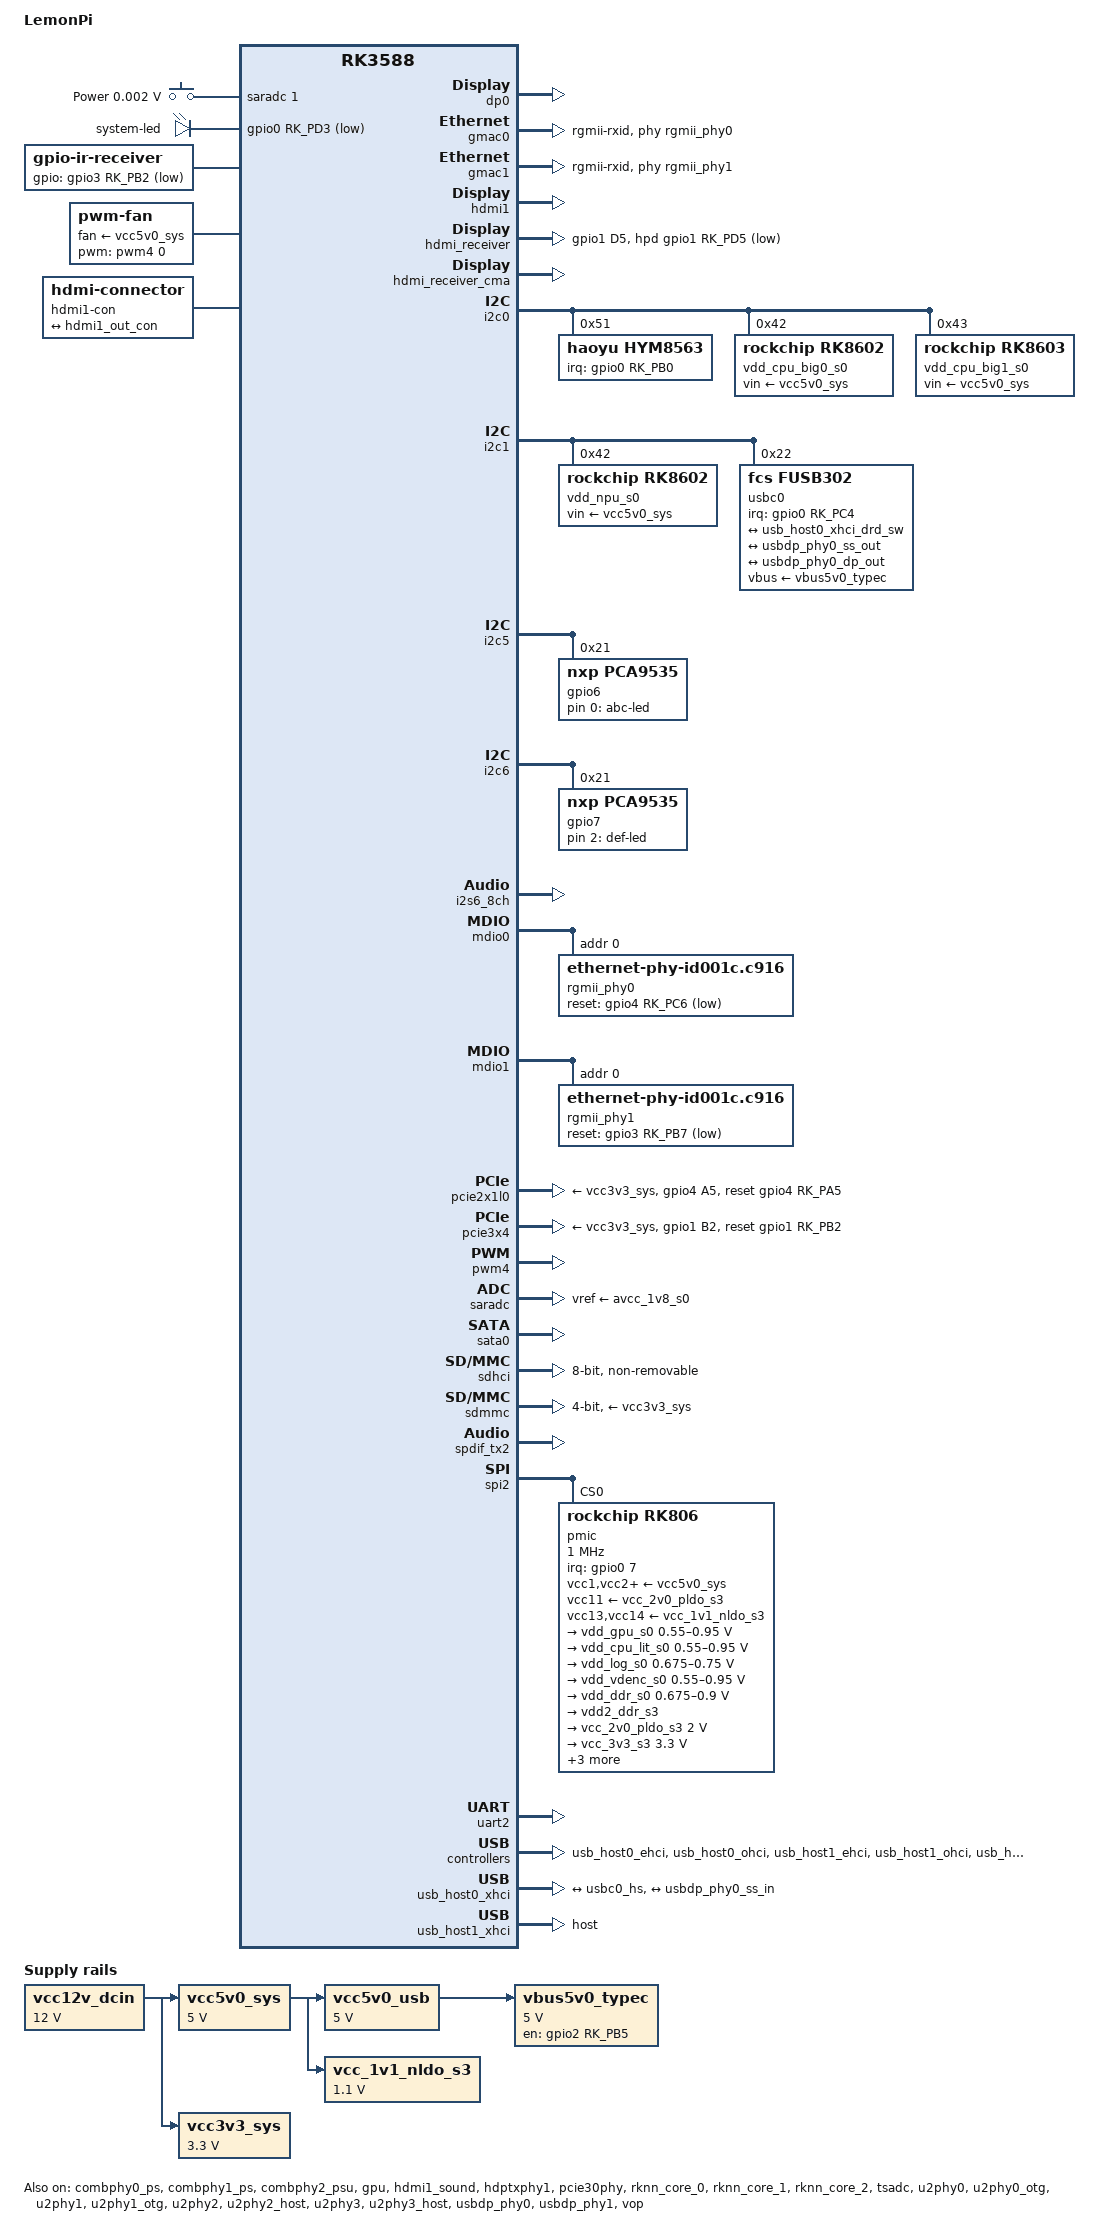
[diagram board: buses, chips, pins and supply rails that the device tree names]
// SPDX-License-Identifier: (GPL-2.0+ OR MIT)
/*
 * Device Tree for the LemonPi board
 *
 * The LemonPi is an RK3588 system-on-module (RK806 PMIC, LPDDR5, eMMC)
 * plugged into the Rockchip "Som3588basebrd V1.1" carrier board described by
 * Som3588basebrd_V1.1.pdf:
 *
 *   - 2x Gigabit Ethernet, RTL8211F-CG PHYs, RGMII (sheet 08/09)
 *   - HDMI 2.1 TX on HDMI1 (sheet 06), HDMI 2.0 RX (sheet 05)
 *   - DisplayPort 0 as USB Type-C alternate mode, FUSB302 PD controller
 *     (sheet 03)
 *   - M.2 M-Key socket on PCIe 3.0 x4 (sheet 12), PCIe 2.0 slot for a WiFi
 *     module (sheet 11)
 *   - eMMC on the SoM, microSD card slot (sheet 07)
 *   - USB 3.0 OTG Type-C, 2x USB 3.0 type-A, 2x USB 2.0 (sheet 03)
 *   - HYM8563 RTC and UART2 debug console (sheet 14)
 *   - PWM fan, ADC key, status LEDs and IR receiver (sheet 13)
 *   - MIPI DSI0 panel connector with touch and backlight (sheet 15)
 *
 * This file is written against the mainline (v7.3) RK3588 device trees and
 * uses the modern graph based display/Type-C bindings of that kernel.
 */

/dts-v1/;

#include <dt-bindings/gpio/gpio.h>
#include <dt-bindings/input/input.h>
#include <dt-bindings/pinctrl/rockchip.h>
#include <dt-bindings/soc/rockchip,vop2.h>
#include <dt-bindings/usb/pd.h>
#include "rk3588.dtsi"

/ {
	model = "LemonPi";
	compatible = "rockchip,rk3588-lemonpi", "rockchip,rk3588";

	aliases {
		ethernet0 = &gmac0;
		ethernet1 = &gmac1;
		mmc0 = &sdhci;
		mmc1 = &sdmmc;
		serial2 = &uart2;
	};

	chosen {
		stdout-path = "serial2:1500000n8";
	};

	/*
	 * 256 MiB of CMA for the multimedia pipeline (8K video decoding and
	 * the ISP). The HDMI receiver uses its own reserved region, which is
	 * added by rk3588-extra.dtsi.
	 */
	reserved-memory {
		#address-cells = <2>;
		#size-cells = <2>;
		ranges;

		cma: cma@10000000 {
			compatible = "shared-dma-pool";
			reg = <0x0 0x10000000 0x0 0x10000000>;
			reusable;
			linux,cma-default;
		};
	};

	/*
	 * The single key wired to the SARADC (sheet 13, net "SARADC_VIN1/REC").
	 *
	 * It doubles as the download/recovery key: both mainline and Rockchip
	 * vendor U-Boot sample channel 1 of the saradc at boot and enter the
	 * BootROM download mode when the key pulls the pin to ground (mainline
	 * rockchip_dnl_key_pressed() accepts a raw value of 0..30, vendor
	 * U-Boot uses its CONFIG_ADC_KEY / adc-keys threshold).
	 *
	 * The other two keys of the board do not need a node here: PWRON_KEY
	 * is the RK806 PWRON input, which the rk8xx MFD driver reports as
	 * KEY_POWER by itself, and User_Key is a plain GPIO key (see the note
	 * at the end of this file).
	 */
	adc-keys {
		compatible = "adc-keys";
		io-channels = <&saradc 1>;
		io-channel-names = "buttons";
		keyup-threshold-microvolt = <1800000>;
		poll-interval = <100>;

		button-power {
			label = "Power";
			linux,code = <KEY_POWER>;
			/*
			 * The REC key pulls SARADC_VIN1 to ground, the idle
			 * level is the 1.8V reference.  The adc-keys driver
			 * reports the key as pressed when the measured value
			 * is closer to this threshold than to
			 * keyup-threshold-microvolt, so the decision point
			 * sits at (press + keyup) / 2 - keep it well below
			 * the idle voltage to avoid a false press.
			 * 1750uV (1.75mV) is the value the reference design
			 * uses for the very same circuit, see
			 * rk3588-lubancat-5.dts and the vendor 6.1 tree.
			 */
			press-threshold-microvolt = <1750>;
		};
	};

	/* On-board LEDs (SYS_LED on sheet 13) */
	leds {
		compatible = "gpio-leds";

		sys_led: led-sys {
			label = "system-led";
			gpios = <&gpio0 RK_PD3 GPIO_ACTIVE_LOW>;
			linux,default-trigger = "heartbeat";
			pinctrl-names = "default";
			pinctrl-0 = <&sys_led_pin>;
		};

		abc_led: led-abc {
			label = "abc-led";
			gpios = <&gpio6 0 GPIO_ACTIVE_HIGH>;
		};

		def_led: led-def {
			label = "def-led";
			gpios = <&gpio7 2 GPIO_ACTIVE_HIGH>;
		};
	};

	/*
	 * IR receiver on GPIO3_B2 (PWM3_M1, sheet 13).  This is the very
	 * same SoM pin that the reference design drives from the Rockchip
	 * BSP "rockchip,remotectl-pwm" node on pwm3m1_pins (see
	 * rk3588-lubancat-5.dts and the vendor 6.1 tree), so the pin
	 * carries the data of the IR module IRM-V838M3-C.  Mainline has
	 * no driver for the BSP "remotectl" PWM decoder, the plain
	 * gpio-ir-receiver driver is used instead; the active-low polarity
	 * matches the inverted data line of the carrier (Q31) and should be
	 * confirmed on hardware if the remote does not react.
	 */
	ir-receiver {
		compatible = "gpio-ir-receiver";
		gpios = <&gpio3 RK_PB2 GPIO_ACTIVE_LOW>;
		pinctrl-names = "default";
		pinctrl-0 = <&ir_receiver_pin>;
	};
	
	/*
	 * SYS_FAN on sheet 13.  The SoM drives its PWM4_M0 output
	 * (GPIO0_C5, MXM connector pin 22) into the carrier level shifter
	 * (R266 1K, Q28 S8050, D32), so the fan is switched by the average
	 * level of that PWM output - in practice only 0% / 100% duty is
	 * meaningful.  Same PWM source as the reference design, see
	 * rk3588-lubancat-5.dts and the vendor 6.1 tree.
	 */
	fan: pwm-fan {
		compatible = "pwm-fan";
		#cooling-cells = <2>;
		cooling-levels = <0 100 150 200 255>;
		fan-supply = <&vcc5v0_sys>;
		pwms = <&pwm4 0 50000 0>;
	};

	/* HDMI 2.1 TX connector (HDMI_TX1, sheet 06) */
	hdmi1-con {
		compatible = "hdmi-connector";
		type = "a";

		port {
			hdmi1_con_in: endpoint {
				remote-endpoint = <&hdmi1_out_con>;
			};
		};
	};

	/* DisplayPort 0 audio, carried over the Type-C connector */
	dp0-sound {
		compatible = "simple-audio-card";
		simple-audio-card,format = "i2s";
		simple-audio-card,mclk-fs = <512>;
		simple-audio-card,name = "LemonPi DP0";

		simple-audio-card,cpu {
			sound-dai = <&spdif_tx2>;
		};

		simple-audio-card,codec {
			sound-dai = <&dp0>;
		};
	};

	/* --- fixed regulators (sheet 01/02) --- */

	/* 12 V DC input jack */
	vcc12v_dcin: regulator-vcc12v-dcin {
		compatible = "regulator-fixed";
		regulator-name = "vcc12v_dcin";
		regulator-always-on;
		regulator-boot-on;
		regulator-min-microvolt = <12000000>;
		regulator-max-microvolt = <12000000>;
	};

	/* 5 V system rail, MP8759 (U1) */
	vcc5v0_sys: regulator-vcc5v0-sys {
		compatible = "regulator-fixed";
		regulator-name = "vcc5v0_sys";
		regulator-always-on;
		regulator-boot-on;
		regulator-min-microvolt = <5000000>;
		regulator-max-microvolt = <5000000>;
		vin-supply = <&vcc12v_dcin>;
	};

	/* 3.3 V system rail, MP8759 (U2) */
	vcc3v3_sys: regulator-vcc3v3-sys {
		compatible = "regulator-fixed";
		regulator-name = "vcc3v3_sys";
		regulator-always-on;
		regulator-boot-on;
		regulator-min-microvolt = <3300000>;
		regulator-max-microvolt = <3300000>;
		vin-supply = <&vcc12v_dcin>;
	};

	/* 5 V for the USB type-A ports */
	vcc5v0_usb: regulator-vcc5v0-usb {
		compatible = "regulator-fixed";
		regulator-name = "vcc5v0_usb";
		regulator-always-on;
		regulator-boot-on;
		regulator-min-microvolt = <5000000>;
		regulator-max-microvolt = <5000000>;
		vin-supply = <&vcc5v0_sys>;
	};

	/* TYPEC_OTGVCC, VBUS of the Type-C port (sheet 03) */
	vbus5v0_typec: regulator-vbus5v0-typec {
		compatible = "regulator-fixed";
		enable-active-high;
		gpio = <&gpio2 RK_PB5 GPIO_ACTIVE_HIGH>;
		pinctrl-names = "default";
		pinctrl-0 = <&typec_vbus_en>;
		regulator-name = "vbus5v0_typec";
		regulator-min-microvolt = <5000000>;
		regulator-max-microvolt = <5000000>;
		vin-supply = <&vcc5v0_usb>;
	};

	/* 1.1 V for the RK806 NLDO inputs (VCC13/VCC14) */
	vcc_1v1_nldo_s3: regulator-vcc-1v1-nldo-s3 {
		compatible = "regulator-fixed";
		regulator-name = "vcc_1v1_nldo_s3";
		regulator-always-on;
		regulator-boot-on;
		regulator-min-microvolt = <1100000>;
		regulator-max-microvolt = <1100000>;
		vin-supply = <&vcc5v0_sys>;
	};
};

/* --- SoC peripherals --- */

/*
 * RK3588 combo PHY allocation on this board:
 *
 *   combphy0_ps  -> SATA0 (default) or the Mini-PCIe slot (pcie2x1l2),
 *                   the two are mutually exclusive, see &sata0 below
 *   combphy1_ps  -> pcie2x1l0, PCIe 2.0 x1 slot for the WiFi module
 *   combphy2_psu -> usb_host2_xhci, the second USB 3.0 type-A port
 *                   (so pcie2x1l1 and sata2 cannot be used)
 */
&combphy0_ps {
	status = "okay";
};

&combphy1_ps {
	status = "okay";
};

&combphy2_psu {
	status = "okay";
};

&cpu_b0 {
	cpu-supply = <&vdd_cpu_big0_s0>;
};

&cpu_b1 {
	cpu-supply = <&vdd_cpu_big0_s0>;
};

&cpu_b2 {
	cpu-supply = <&vdd_cpu_big1_s0>;
};

&cpu_b3 {
	cpu-supply = <&vdd_cpu_big1_s0>;
};

&cpu_l0 {
	cpu-supply = <&vdd_cpu_lit_s0>;
};

&cpu_l1 {
	cpu-supply = <&vdd_cpu_lit_s0>;
};

&cpu_l2 {
	cpu-supply = <&vdd_cpu_lit_s0>;
};

&cpu_l3 {
	cpu-supply = <&vdd_cpu_lit_s0>;
};

/* DisplayPort 0, routed to the Type-C connector (TYPEC0_*) */
&dp0 {
	status = "okay";
};

&dp0_in {
	dp0_in_vp2: endpoint {
		remote-endpoint = <&vp2_out_dp0>;
	};
};

/*
 * The DP output has to be wired to the USB3/DP combo PHY of the Type-C
 * port. Without this link the DP controller has no sink, so no picture
 * is produced even though &dp0 is enabled.
 */
&dp0_out {
	dp0_out_con: endpoint {
		remote-endpoint = <&usbdp_phy0_dp_in>;
	};
};

&gmac0 {
	clock_in_out = "output";
	phy-handle = <&rgmii_phy0>;
	phy-mode = "rgmii-rxid";
	pinctrl-names = "default";
	pinctrl-0 = <&gmac0_miim
		     &gmac0_tx_bus2
		     &gmac0_rx_bus2
		     &gmac0_rgmii_clk
		     &gmac0_rgmii_bus>;
	tx_delay = <0x20>;
	status = "okay";
};

&gmac1 {
	clock_in_out = "output";
	phy-handle = <&rgmii_phy1>;
	phy-mode = "rgmii-rxid";
	pinctrl-names = "default";
	pinctrl-0 = <&gmac1_miim
		     &gmac1_tx_bus2
		     &gmac1_rx_bus2
		     &gmac1_rgmii_clk
		     &gmac1_rgmii_bus>;
	tx_delay = <0x20>;
	status = "okay";
};

&gpu {
	mali-supply = <&vdd_gpu_s0>;
	sram-supply = <&vdd_gpu_mem_s0>;
	status = "okay";
};

/*
 * HDMI 2.1 TX is HDMI1 on this board (HDMI0 is not routed to a connector).
 * Pin mux follows the schematic: CEC on M2, HPD on M0, DDC on M1.
 */
&hdmi1 {
	pinctrl-names = "default";
	pinctrl-0 = <&hdmim2_tx1_cec &hdmim0_tx1_hpd
		     &hdmim1_tx1_scl &hdmim1_tx1_sda>;
	status = "okay";
};

&hdmi1_in {
	hdmi1_in_vp1: endpoint {
		remote-endpoint = <&vp1_out_hdmi1>;
	};
};

&hdmi1_out {
	hdmi1_out_con: endpoint {
		remote-endpoint = <&hdmi1_con_in>;
	};
};

&hdmi1_sound {
	status = "okay";
};

/* HDMI 2.0 RX (sheet 05): CEC on M0, HPD/DDC on M1 */
&hdmi_receiver {
	hpd-gpios = <&gpio1 RK_PD5 GPIO_ACTIVE_LOW>;
	pinctrl-names = "default";
	pinctrl-0 = <&hdmim0_rx_cec &hdmim1_rx_hpdin
		     &hdmim1_rx_scl &hdmim1_rx_sda &hdmirx_det>;
	status = "okay";
};

&hdmi_receiver_cma {
	status = "okay";
};

&hdptxphy1 {
	status = "okay";
};

&i2c0 {
	pinctrl-names = "default";
	pinctrl-0 = <&i2c0m2_xfer>;
	status = "okay";

	/* HYM8563 RTC (U16, sheet 14) */
	hym8563: rtc@51 {
		compatible = "haoyu,hym8563";
		reg = <0x51>;
		#clock-cells = <0>;
		clock-output-names = "hym8563";
		interrupt-parent = <&gpio0>;
		interrupts = <RK_PB0 IRQ_TYPE_LEVEL_LOW>;
		pinctrl-names = "default";
		pinctrl-0 = <&hym8563_int>;
		wakeup-source;
	};

	/* Buck for the first big core cluster */
	vdd_cpu_big0_s0: regulator@42 {
		compatible = "rockchip,rk8602";
		reg = <0x42>;
		fcs,suspend-voltage-selector = <1>;
		regulator-name = "vdd_cpu_big0_s0";
		regulator-always-on;
		regulator-boot-on;
		regulator-min-microvolt = <550000>;
		regulator-max-microvolt = <1050000>;
		regulator-ramp-delay = <2300>;
		vin-supply = <&vcc5v0_sys>;

		regulator-state-mem {
			regulator-off-in-suspend;
		};
	};

	/* Buck for the second big core cluster */
	vdd_cpu_big1_s0: regulator@43 {
		compatible = "rockchip,rk8603", "rockchip,rk8602";
		reg = <0x43>;
		fcs,suspend-voltage-selector = <1>;
		regulator-name = "vdd_cpu_big1_s0";
		regulator-always-on;
		regulator-boot-on;
		regulator-min-microvolt = <550000>;
		regulator-max-microvolt = <1050000>;
		regulator-ramp-delay = <2300>;
		vin-supply = <&vcc5v0_sys>;

		regulator-state-mem {
			regulator-off-in-suspend;
		};
	};
};

&i2c1 {
	pinctrl-names = "default";
	pinctrl-0 = <&i2c1m2_xfer>;
	status = "okay";

	/* Buck for the NPU */
	vdd_npu_s0: regulator@42 {
		compatible = "rockchip,rk8602";
		reg = <0x42>;
		fcs,suspend-voltage-selector = <1>;
		regulator-name = "vdd_npu_s0";
		regulator-boot-on;
		regulator-min-microvolt = <550000>;
		regulator-max-microvolt = <950000>;
		regulator-ramp-delay = <2300>;
		vin-supply = <&vcc5v0_sys>;

		regulator-state-mem {
			regulator-off-in-suspend;
		};
	};

	/*
	 * FUSB302 Type-C controller (sheet 03). The connector describes the
	 * three data paths of the port: USB2 (hs), USB3 SuperSpeed (ss) and
	 * the SBU lines used for DisplayPort altmode.
	 */
	usbc0: usb-typec@22 {
		compatible = "fcs,fusb302";
		reg = <0x22>;
		interrupt-parent = <&gpio0>;
		interrupts = <RK_PC4 IRQ_TYPE_LEVEL_LOW>;
		pinctrl-names = "default";
		pinctrl-0 = <&fusb302_int>;
		vbus-supply = <&vbus5v0_typec>;
		status = "okay";

		connector {
			compatible = "usb-c-connector";
			data-role = "dual";
			label = "USB-C";
			op-sink-microwatt = <1000000>;
			pd-revision = /bits/ 8 <0x2 0x0 0x1 0x2>;
			power-role = "dual";
			sink-pdos = <PDO_FIXED(5000, 3000, PDO_FIXED_USB_COMM)>;
			source-pdos = <PDO_FIXED(5000, 2000, PDO_FIXED_USB_COMM)>;
			try-power-role = "source";

			altmodes {
				displayport {
					svid = /bits/ 16 <0xff01>;
					vdo = <0xffffffff>;
				};
			};

			ports {
				#address-cells = <1>;
				#size-cells = <0>;

				port@0 {
					reg = <0>;
					usbc0_hs: endpoint {
						remote-endpoint = <&usb_host0_xhci_drd_sw>;
					};
				};

				port@1 {
					reg = <1>;
					usbc0_ss: endpoint {
						remote-endpoint = <&usbdp_phy0_ss_out>;
					};
				};

				port@2 {
					reg = <2>;
					usbc0_sbu: endpoint {
						remote-endpoint = <&usbdp_phy0_dp_out>;
					};
				};
			};
		};
	};
};

&i2c5 {
	pinctrl-names = "default";
	pinctrl-0 = <&i2c5m2_xfer>;
	status = "okay";

	gpio6: gpio-expander@21 {
		compatible = "nxp,pca9535";
		reg = <0x21>;
		gpio-controller;
		#gpio-cells = <2>;
	};
};

&i2c6 {
	pinctrl-names = "default";
	pinctrl-0 = <&i2c6m0_xfer>;
	status = "okay";

	gpio7: gpio-expander@21 {
		compatible = "nxp,pca9535";
		reg = <0x21>;
		gpio-controller;
		#gpio-cells = <2>;
	};
};

/* No analog codec on the carrier board, DP/HDMI are the audio outputs */
&i2c7 {
	status = "disabled";
};

&i2s0_8ch {
	status = "disabled";
};

/* I2S6 is the audio source of HDMI1 */
&i2s6_8ch {
	status = "okay";
};

/*
 * RTL8211F-CG PHYs, both strapped to MDIO address 0 on their private buses
 * (same as rk3588-lubancat-5.dts; the vendor LemonPi 6.1 tree says
 * reg = <0x01> but keeps the node name phy@0, which looks like a typo).
 * If gmac1 cannot find its PHY, change reg here to <0x01>.
 */
&mdio0 {
	rgmii_phy0: ethernet-phy@0 {
		compatible = "ethernet-phy-id001c.c916";
		reg = <0x00>;
		pinctrl-names = "default";
		pinctrl-0 = <&gmac0_phy_rst>;
		reset-assert-us = <20000>;
		reset-deassert-us = <100000>;
		reset-gpios = <&gpio4 RK_PC6 GPIO_ACTIVE_LOW>;
	};
};

&mdio1 {
	rgmii_phy1: ethernet-phy@0 {
		compatible = "ethernet-phy-id001c.c916";
		reg = <0x00>;
		pinctrl-names = "default";
		pinctrl-0 = <&gmac1_phy_rst>;
		reset-assert-us = <20000>;
		reset-deassert-us = <100000>;
		reset-gpios = <&gpio3 RK_PB7 GPIO_ACTIVE_LOW>;
	};
};

/* Fan cooling maps, the fan is driven by PWM4 */
&package_thermal {
	polling-delay = <1000>;

	trips {
		package_warm: package-warm {
			temperature = <55000>;
			hysteresis = <2000>;
			type = "active";
		};

		package_hot: package-hot {
			temperature = <65000>;
			hysteresis = <2000>;
			type = "active";
		};
	};

	cooling-maps {
		map0 {
			trip = <&package_warm>;
			cooling-device = <&fan THERMAL_NO_LIMIT 1>;
		};

		map1 {
			trip = <&package_hot>;
			cooling-device = <&fan 2 THERMAL_NO_LIMIT>;
		};
	};
};

/* PCIe 2.0 x1 slot for a WiFi module (sheet 11) */
&pcie2x1l0 {
	pinctrl-names = "default";
	pinctrl-0 = <&pcie2_0_rst>;
	reset-gpios = <&gpio4 RK_PA5 GPIO_ACTIVE_HIGH>;
	vpcie3v3-supply = <&vcc3v3_sys>;
	status = "okay";
};

/*
 * Mini-PCIe slot, wired to combphy0_ps and therefore mutually exclusive with
 * SATA0 (see &sata0). Disabled because SATA is the default configuration;
 * set this to "okay" and disable &sata0 to use a PCIe card in the slot.
 */
&pcie2x1l2 {
	pinctrl-names = "default";
	pinctrl-0 = <&pcie2_2_rst>;
	reset-gpios = <&gpio3 RK_PD1 GPIO_ACTIVE_HIGH>;
	vpcie3v3-supply = <&vcc3v3_sys>;
	status = "disabled";
};

&pcie30phy {
	status = "okay";
};

/* PCIe 3.0 x4 M.2 M-Key socket (sheet 12) */
&pcie3x4 {
	pinctrl-names = "default";
	pinctrl-0 = <&pcie3_reset>;
	reset-gpios = <&gpio1 RK_PB2 GPIO_ACTIVE_HIGH>;
	vpcie3v3-supply = <&vcc3v3_sys>;
	status = "okay";
};

&pd_gpu {
	domain-supply = <&vdd_gpu_s0>;
};

&pd_npu {
	domain-supply = <&vdd_npu_s0>;
};

&pinctrl {
	gmac0 {
		gmac0_phy_rst: gmac0-phy-rst {
			rockchip,pins = <4 RK_PC6 RK_FUNC_GPIO &pcfg_pull_none>;
		};
	};

	gmac1 {
		gmac1_phy_rst: gmac1-phy-rst {
			rockchip,pins = <3 RK_PB7 RK_FUNC_GPIO &pcfg_pull_none>;
		};
	};

	hdmirx {
		hdmirx_det: hdmirx-det {
			rockchip,pins = <1 RK_PD5 RK_FUNC_GPIO &pcfg_pull_up>;
		};
	};

	hym8563 {
		hym8563_int: hym8563-int {
			rockchip,pins = <0 RK_PB0 RK_FUNC_GPIO &pcfg_pull_up>;
		};
	};

	ir-receiver {
		ir_receiver_pin: ir-receiver-pin {
			rockchip,pins = <3 RK_PB2 RK_FUNC_GPIO &pcfg_pull_none>;
		};
	};

	leds {
		sys_led_pin: sys-led-pin {
			rockchip,pins = <0 RK_PD3 RK_FUNC_GPIO &pcfg_pull_none>;
		};
	};

	pcie2 {
		pcie2_0_rst: pcie2-0-rst {
			rockchip,pins = <4 RK_PA5 RK_FUNC_GPIO &pcfg_pull_none>;
		};

		pcie2_2_rst: pcie2-2-rst {
			rockchip,pins = <3 RK_PD1 RK_FUNC_GPIO &pcfg_pull_none>;
		};
	};

	pcie3 {
		pcie3_reset: pcie3-reset {
			rockchip,pins = <1 RK_PB2 RK_FUNC_GPIO &pcfg_pull_none>;
		};
	};

	usb-typec {
		fusb302_int: fusb302-int {
			rockchip,pins = <0 RK_PC4 RK_FUNC_GPIO &pcfg_pull_up>;
		};

		typec0_sbu_dc: typec0-sbu-dc {
			rockchip,pins = <1 RK_PA0 RK_FUNC_GPIO &pcfg_pull_none>,
					<1 RK_PA1 RK_FUNC_GPIO &pcfg_pull_none>;
		};

		typec_vbus_en: typec-vbus-en {
			rockchip,pins = <2 RK_PB5 RK_FUNC_GPIO &pcfg_pull_none>;
		};
	};
};

/* Fan PWM output on PWM4 (SYS_FAN, sheet 13) */
&pwm4 {
	pinctrl-names = "default";
	pinctrl-0 = <&pwm4m0_pins>;
	status = "okay";
};

&rknn_core_0 {
	npu-supply = <&vdd_npu_s0>;
	sram-supply = <&vdd_npu_s0>;
	status = "okay";
};

&rknn_core_1 {
	npu-supply = <&vdd_npu_s0>;
	sram-supply = <&vdd_npu_s0>;
	status = "okay";
};

&rknn_core_2 {
	npu-supply = <&vdd_npu_s0>;
	sram-supply = <&vdd_npu_s0>;
	status = "okay";
};

&rknn_mmu_0 {
	status = "okay";
};

&rknn_mmu_1 {
	status = "okay";
};

&rknn_mmu_2 {
	status = "okay";
};

&saradc {
	vref-supply = <&avcc_1v8_s0>;
	status = "okay";
};

/*
 * SATA and the Mini-PCIe slot (pcie2x1l2) share combphy0_ps, only one of
 * them can be active at a time. SATA is the default here.
 *
 * To use the Mini-PCIe slot instead:
 *   - drop the &sata0 node (or set status = "disabled")
 *   - keep &combphy0_ps enabled
 *   - set &pcie2x1l2 status = "okay"
 */
&sata0 {
	status = "okay";
};

&sdhci {
	bus-width = <8>;
	max-frequency = <200000000>;
	mmc-hs400-1_8v;
	mmc-hs400-enhanced-strobe;
	no-sd;
	no-sdio;
	non-removable;
	status = "okay";
};

&sdmmc {
	bus-width = <4>;
	cap-sd-highspeed;
	disable-wp;
	no-mmc;
	no-sdio;
	pinctrl-names = "default";
	pinctrl-0 = <&sdmmc_bus4 &sdmmc_clk &sdmmc_cmd &sdmmc_det>;
	sd-uhs-sdr104;
	vmmc-supply = <&vcc3v3_sys>;
	vqmmc-supply = <&vccio_sd_s0>;
	status = "okay";
};

/* SPDIF2 is the audio source of the DisplayPort controller */
&spdif_tx2 {
	status = "okay";
};

&spi2 {
	status = "okay";
	assigned-clocks = <&cru CLK_SPI2>;
	assigned-clock-rates = <200000000>;
	pinctrl-names = "default";
	pinctrl-0 = <&spi2m2_cs0 &spi2m2_pins>;
	num-cs = <1>;

	/* RK806 PMIC on the SoM */
	pmic@0 {
		compatible = "rockchip,rk806";
		reg = <0x0>;
		gpio-controller;
		#gpio-cells = <2>;
		interrupt-parent = <&gpio0>;
		interrupts = <7 IRQ_TYPE_LEVEL_LOW>;

		pinctrl-names = "default";
		pinctrl-0 = <&pmic_pins>, <&rk806_dvs1_null>,
			    <&rk806_dvs2_null>, <&rk806_dvs3_null>;

		spi-max-frequency = <1000000>;
		system-power-controller;

		vcc1-supply = <&vcc5v0_sys>;
		vcc2-supply = <&vcc5v0_sys>;
		vcc3-supply = <&vcc5v0_sys>;
		vcc4-supply = <&vcc5v0_sys>;
		vcc5-supply = <&vcc5v0_sys>;
		vcc6-supply = <&vcc5v0_sys>;
		vcc7-supply = <&vcc5v0_sys>;
		vcc8-supply = <&vcc5v0_sys>;
		vcc9-supply = <&vcc5v0_sys>;
		vcc10-supply = <&vcc5v0_sys>;
		vcc11-supply = <&vcc_2v0_pldo_s3>;
		vcc12-supply = <&vcc5v0_sys>;
		vcc13-supply = <&vcc_1v1_nldo_s3>;
		vcc14-supply = <&vcc_1v1_nldo_s3>;
		vcca-supply = <&vcc5v0_sys>;

		rk806_dvs1_null: dvs1-null-pins {
			pins = "gpio_pwrctrl1";
			function = "pin_fun0";
		};

		rk806_dvs2_null: dvs2-null-pins {
			pins = "gpio_pwrctrl2";
			function = "pin_fun0";
		};

		rk806_dvs3_null: dvs3-null-pins {
			pins = "gpio_pwrctrl3";
			function = "pin_fun0";
		};

		regulators {
			vdd_gpu_s0: vdd_gpu_mem_s0: dcdc-reg1 {
				regulator-boot-on;
				regulator-min-microvolt = <550000>;
				regulator-max-microvolt = <950000>;
				regulator-ramp-delay = <12500>;
				regulator-name = "vdd_gpu_s0";
				regulator-enable-ramp-delay = <400>;

				regulator-state-mem {
					regulator-off-in-suspend;
				};
			};

			vdd_cpu_lit_s0: vdd_cpu_lit_mem_s0: dcdc-reg2 {
				regulator-always-on;
				regulator-boot-on;
				regulator-min-microvolt = <550000>;
				regulator-max-microvolt = <950000>;
				regulator-ramp-delay = <12500>;
				regulator-name = "vdd_cpu_lit_s0";

				regulator-state-mem {
					regulator-off-in-suspend;
				};
			};

			vdd_log_s0: dcdc-reg3 {
				regulator-always-on;
				regulator-boot-on;
				regulator-min-microvolt = <675000>;
				regulator-max-microvolt = <750000>;
				regulator-ramp-delay = <12500>;
				regulator-name = "vdd_log_s0";

				regulator-state-mem {
					regulator-off-in-suspend;
					regulator-suspend-microvolt = <750000>;
				};
			};

			vdd_vdenc_s0: vdd_vdenc_mem_s0: dcdc-reg4 {
				regulator-always-on;
				regulator-boot-on;
				regulator-min-microvolt = <550000>;
				regulator-max-microvolt = <950000>;
				regulator-ramp-delay = <12500>;
				regulator-name = "vdd_vdenc_s0";

				regulator-state-mem {
					regulator-off-in-suspend;
				};
			};

			vdd_ddr_s0: dcdc-reg5 {
				regulator-always-on;
				regulator-boot-on;
				regulator-min-microvolt = <675000>;
				regulator-max-microvolt = <900000>;
				regulator-ramp-delay = <12500>;
				regulator-name = "vdd_ddr_s0";

				regulator-state-mem {
					regulator-off-in-suspend;
					regulator-suspend-microvolt = <850000>;
				};
			};

			vdd2_ddr_s3: dcdc-reg6 {
				regulator-always-on;
				regulator-boot-on;
				regulator-name = "vdd2_ddr_s3";

				regulator-state-mem {
					regulator-on-in-suspend;
				};
			};

			vcc_2v0_pldo_s3: dcdc-reg7 {
				regulator-always-on;
				regulator-boot-on;
				regulator-min-microvolt = <2000000>;
				regulator-max-microvolt = <2000000>;
				regulator-ramp-delay = <12500>;
				regulator-name = "vdd_2v0_pldo_s3";

				regulator-state-mem {
					regulator-on-in-suspend;
					regulator-suspend-microvolt = <2000000>;
				};
			};

			vcc_3v3_s3: dcdc-reg8 {
				regulator-always-on;
				regulator-boot-on;
				regulator-min-microvolt = <3300000>;
				regulator-max-microvolt = <3300000>;
				regulator-name = "vcc_3v3_s3";

				regulator-state-mem {
					regulator-on-in-suspend;
					regulator-suspend-microvolt = <3300000>;
				};
			};

			vddq_ddr_s0: dcdc-reg9 {
				regulator-always-on;
				regulator-boot-on;
				regulator-name = "vddq_ddr_s0";

				regulator-state-mem {
					regulator-off-in-suspend;
				};
			};

			vcc_1v8_s3: dcdc-reg10 {
				regulator-always-on;
				regulator-boot-on;
				regulator-min-microvolt = <1800000>;
				regulator-max-microvolt = <1800000>;
				regulator-name = "vcc_1v8_s3";

				regulator-state-mem {
					regulator-on-in-suspend;
					regulator-suspend-microvolt = <1800000>;
				};
			};

			avcc_1v8_s0: pldo-reg1 {
				regulator-always-on;
				regulator-boot-on;
				regulator-min-microvolt = <1800000>;
				regulator-max-microvolt = <1800000>;
				regulator-name = "avcc_1v8_s0";

				regulator-state-mem {
					regulator-off-in-suspend;
				};
			};

			vcc_1v8_s0: pldo-reg2 {
				regulator-always-on;
				regulator-boot-on;
				regulator-min-microvolt = <1800000>;
				regulator-max-microvolt = <1800000>;
				regulator-name = "vcc_1v8_s0";

				regulator-state-mem {
					regulator-off-in-suspend;
					regulator-suspend-microvolt = <1800000>;
				};
			};

			avdd_1v2_s0: pldo-reg3 {
				regulator-always-on;
				regulator-boot-on;
				regulator-min-microvolt = <1200000>;
				regulator-max-microvolt = <1200000>;
				regulator-name = "avdd_1v2_s0";

				regulator-state-mem {
					regulator-off-in-suspend;
				};
			};

			vcc_3v3_s0: pldo-reg4 {
				regulator-always-on;
				regulator-boot-on;
				regulator-min-microvolt = <3300000>;
				regulator-max-microvolt = <3300000>;
				regulator-ramp-delay = <12500>;
				regulator-name = "vcc_3v3_s0";

				regulator-state-mem {
					regulator-off-in-suspend;
				};
			};

			vccio_sd_s0: pldo-reg5 {
				regulator-always-on;
				regulator-boot-on;
				regulator-min-microvolt = <1800000>;
				regulator-max-microvolt = <3300000>;
				regulator-ramp-delay = <12500>;
				regulator-name = "vccio_sd_s0";

				regulator-state-mem {
					regulator-off-in-suspend;
				};
			};

			pldo6_s3: pldo-reg6 {
				regulator-always-on;
				regulator-boot-on;
				regulator-min-microvolt = <1800000>;
				regulator-max-microvolt = <1800000>;
				regulator-name = "pldo6_s3";

				regulator-state-mem {
					regulator-on-in-suspend;
					regulator-suspend-microvolt = <1800000>;
				};
			};

			vdd_0v75_s3: nldo-reg1 {
				regulator-always-on;
				regulator-boot-on;
				regulator-min-microvolt = <750000>;
				regulator-max-microvolt = <750000>;
				regulator-name = "vdd_0v75_s3";

				regulator-state-mem {
					regulator-on-in-suspend;
					regulator-suspend-microvolt = <750000>;
				};
			};

			vdd_ddr_pll_s0: nldo-reg2 {
				regulator-always-on;
				regulator-boot-on;
				regulator-min-microvolt = <850000>;
				regulator-max-microvolt = <850000>;
				regulator-name = "vdd_ddr_pll_s0";

				regulator-state-mem {
					regulator-off-in-suspend;
					regulator-suspend-microvolt = <850000>;
				};
			};

			avdd_0v75_s0: nldo-reg3 {
				regulator-always-on;
				regulator-boot-on;
				regulator-min-microvolt = <837500>;
				regulator-max-microvolt = <837500>;
				regulator-name = "avdd_0v75_s0";

				regulator-state-mem {
					regulator-off-in-suspend;
				};
			};

			vdd_0v85_s0: nldo-reg4 {
				regulator-always-on;
				regulator-boot-on;
				regulator-min-microvolt = <850000>;
				regulator-max-microvolt = <850000>;
				regulator-name = "vdd_0v85_s0";

				regulator-state-mem {
					regulator-off-in-suspend;
				};
			};

			vdd_0v75_s0: nldo-reg5 {
				regulator-always-on;
				regulator-boot-on;
				regulator-min-microvolt = <750000>;
				regulator-max-microvolt = <750000>;
				regulator-name = "vdd_0v75_s0";

				regulator-state-mem {
					regulator-off-in-suspend;
				};
			};
		};
	};
};

&tsadc {
	status = "okay";
};

&uart2 {
	pinctrl-names = "default";
	pinctrl-0 = <&uart2m0_xfer>;
	status = "okay";
};

&u2phy0 {
	status = "okay";
};

&u2phy0_otg {
	status = "okay";
};

&u2phy1 {
	status = "okay";
};

&u2phy1_otg {
	status = "okay";
};

&u2phy2 {
	status = "okay";
};

&u2phy2_host {
	phy-supply = <&vcc5v0_usb>;
	status = "okay";
};

&u2phy3 {
	status = "okay";
};

&u2phy3_host {
	phy-supply = <&vcc5v0_usb>;
	status = "okay";
};

/* USB3/DP combo PHY of the Type-C port, DP altmode is enabled here */
&usbdp_phy0 {
	mode-switch;
	orientation-switch;
	pinctrl-names = "default";
	pinctrl-0 = <&typec0_sbu_dc>;
	sbu1-dc-gpios = <&gpio1 RK_PA0 GPIO_ACTIVE_HIGH>;
	sbu2-dc-gpios = <&gpio1 RK_PA1 GPIO_ACTIVE_HIGH>;
	status = "okay";

	port {
		#address-cells = <1>;
		#size-cells = <0>;

		/*
		 * Endpoint layout follows the rockchip,rk3588-usbdp-phy binding:
		 *   port@0 - PHY output for USB (SuperSpeed towards the connector)
		 *   port@1 - input from the USB controller
		 *   port@2 - input from the DisplayPort controller
		 *   port@3 - PHY output for the DP auxiliary channel (SBU)
		 */
		usbdp_phy0_ss_out: endpoint@0 {
			reg = <0>;
			remote-endpoint = <&usbc0_ss>;
		};

		usbdp_phy0_ss_in: endpoint@1 {
			reg = <1>;
			remote-endpoint = <&usb_host0_xhci_ss>;
		};

		usbdp_phy0_dp_in: endpoint@2 {
			reg = <2>;
			remote-endpoint = <&dp0_out_con>;
		};

		usbdp_phy0_dp_out: endpoint@3 {
			reg = <3>;
			remote-endpoint = <&usbc0_sbu>;
		};
	};
};

/* USB3/DP combo PHY of the first USB 3.0 type-A port */
&usbdp_phy1 {
	status = "okay";
};

&usb_host0_ehci {
	status = "okay";
};

&usb_host0_ohci {
	status = "okay";
};

/* USB 3.0 OTG, Type-C port */
&usb_host0_xhci {
	usb-role-switch;
	status = "okay";

	ports {
		#address-cells = <1>;
		#size-cells = <0>;

		port@0 {
			reg = <0>;
			usb_host0_xhci_drd_sw: endpoint {
				remote-endpoint = <&usbc0_hs>;
			};
		};

		port@1 {
			reg = <1>;
			usb_host0_xhci_ss: endpoint {
				remote-endpoint = <&usbdp_phy0_ss_in>;
			};
		};
	};
};

&usb_host1_ehci {
	status = "okay";
};

&usb_host1_ohci {
	status = "okay";
};

/* USB 3.0 type-A port 1, usbdp_phy1 */
&usb_host1_xhci {
	dr_mode = "host";
	status = "okay";
};

/* USB 3.0 type-A port 2, combphy2_psu */
&usb_host2_xhci {
	status = "okay";
};

&vop {
	status = "okay";
};

&vop_mmu {
	status = "okay";
};

/* VP1 drives HDMI1 */
&vp1 {
	vp1_out_hdmi1: endpoint@ROCKCHIP_VOP2_EP_HDMI1 {
		reg = <ROCKCHIP_VOP2_EP_HDMI1>;
		remote-endpoint = <&hdmi1_in_vp1>;
	};
};

/*
 * VP2 drives DisplayPort 0. Running dclk_vp2 from V0PLL allows arbitrary
 * pixel clocks for the DP link, the GPLL only provides standard rates.
 */
&vp2 {
	assigned-clocks = <&cru DCLK_VOP2_SRC>;
	assigned-clock-parents = <&cru PLL_V0PLL>;

	vp2_out_dp0: endpoint@a {
		reg = <ROCKCHIP_VOP2_EP_DP0>;
		remote-endpoint = <&dp0_in_vp2>;
	};
};

/*
 * Hardware that is present on the carrier board but not described here:
 *
 *  - MIPI DSI0 panel connector J25 (sheet 15): needs the panel model, its
 *    timings, the backlight PWM channel (LCD0_BL_PWM) and the touch
 *    controller, none of which are documented for this board revision.
 *  - IR remote control: the carrier uses the Rockchip BSP "remotectl"
 *    PWM decoder, mainline can only use the plain gpio-ir-receiver
 *    driver, so the BSP key table (ir_key_*) does not apply.  See the
 *    ir-receiver node above.
 *  - User_Key button (sheet 13) arrives on MXM connector J4 pin 13.  The
 *    carrier renames that net, so the SoM side signal name (and with it
 *    the GPIO) is not in the carrier board schematic and cannot be
 *    derived from it, so no gpio-keys node can be written yet.  Once the
 *    SoM pin is known add, next to the adc-keys node:
 *
 *	gpio-keys {
 *		compatible = "gpio-keys";
 *		pinctrl-names = "default";
 *		pinctrl-0 = <&user_key_pin>;
 *
 *		button-user {
 *			label = "User Key";
 *			linux,code = <BTN_1>;
 *			gpios = <&gpioX RK_PC0 GPIO_ACTIVE_LOW>;
 *			debounce-interval = <50>;
 *			wakeup-source;
 *		};
 *	};
 *
 *    with the matching user_key_pin entry in &pinctrl. Note that BTN_1 or
 *    KEY_MENU/KEY_VENDOR are valid codes while "KEY_USER" does not exist.
 *  - The MXM connector exposes an analog audio path (I2C7_M0_CODEC,
 *    I2S0_*, HP_PLUG_IN_DET, EARPHONE_CTL on sheet 16), but this carrier
 *    board does not route it to any jack, so I2C7/I2S0 stay disabled. If a
 *    SoM revision with the codec fitted is used, port the ES8388 node from
 *    the vendor 6.1 device tree.
 *
 *  - HDMI0, EDP0 and the second Type-C (TYPEC1) are not routed to a
 *    connector on this carrier board.
 */

